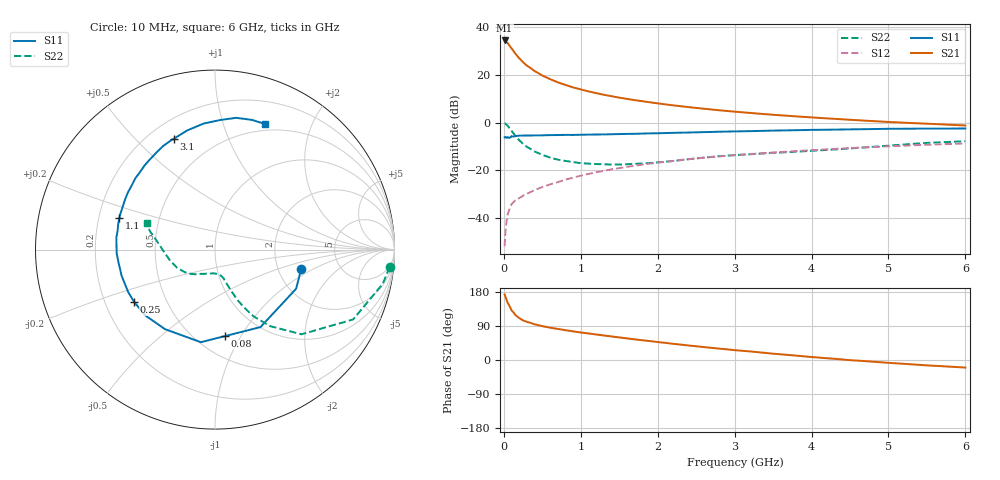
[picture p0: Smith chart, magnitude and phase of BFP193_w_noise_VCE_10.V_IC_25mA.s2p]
! (c) 2017  Infineon Technologies AG, Munich
! Infineon Technologies  Discrete & RF Semiconductors
! BFP193
! VCE =  10. V,  IC =  25 mA
! Common Emitter S-Parameters:  Jan 2017
# GHz  S  MA  R  50
!  f  S11  S21  S12  S22
! GHz  MAG  ANG  MAG  ANG  MAG  ANG  MAG  ANG
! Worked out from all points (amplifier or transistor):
!   77 points, 10 MHz to 6 GHz, reference 50 ohm
!   highest |S21| = 34.4 dB at 10 MHz (marker M1)
!   |S21| within 3 dB of that: start of sweep to 92.61 MHz
!   unconditionally stable (mu >= 1): 838.2 MHz to 2.482 GHz
!   at 130 MHz: K = 0.41, MSG = 31.5 dB, |S12| = -33.2 dB
!   at 2.2 GHz: K = 1.02, MAG = 10.8 dB, |S12| = -16.0 dB
!   at 6 GHz: K = 0.89, MSG = 3.8 dB, |S12| = -8.7 dB
!   lowest NFmin = 1.12 dB at 450 MHz
!   S11 on the Smith chart (normalised r, x): 10 MHz: 2.69, -0.77; 80 MHz: 0.68, -0.86; 250 MHz: 0.33, -0.27; 1.1 GHz: 0.29, +0.15; 3.1 GHz: 0.30, +0.65; 6 GHz: 0.43, +1.39
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0.01  0.4925 -12.8  52.4 173.1  0.0026 80.5  0.9776 -5.7
0.02  0.5018 -25.8  52.25 167.2  0.0049 87.5  0.9538 -11.6
0.05  0.5006 -59.6  46.26 150.6  0.0121 68.1  0.8625 -26.8
0.08  0.4853 -83.6  39.45 140.1  0.0165 61.9  0.7409 -36.3
0.1  0.5219 -98.7  35.87 131.0  0.0195 59.3  0.6744 -44.4
0.15  0.5236 -122.2  27.7 118.7  0.0237 54.2  0.5261 -54.2
0.2  0.5343 -136.7  22.21 110.6  0.0263 52.8  0.428 -60.1
0.25  0.5367 -146.9  18.38 104.6  0.0295 52.7  0.3602 -63.3
0.3  0.5384 -154.0  15.59 100.6  0.0324 54.3  0.3113 -65.8
0.4  0.5403 -164.4  11.99 94.1  0.0387 57.5  0.2487 -68.5
0.5  0.5421 -172.0  9.678 89.3  0.0449 58.8  0.2111 -70.4
0.6  0.5482 -177.9  8.139 85.3  0.051 60.0  0.186 -72.1
0.7  0.5494 177.5  6.995 82.0  0.0568 61.5  0.1684 -73.3
0.9  0.5526 169.1  5.465 75.6  0.0706 62.0  0.1496 -77.1
1.1  0.5617 161.8  4.508 70.1  0.0845 61.9  0.1387 -81.8
1.5  0.5759 149.5  3.333 59.6  0.1115 59.7  0.1328 -95.1
2.1  0.6048 132.4  2.412 45.2  0.1517 54.2  0.1523 -117.5
2.6  0.6329 120.7  1.953 34.1  0.1843 48.6  0.1853 -132.8
3.1  0.659 110.4  1.645 24.3  0.2138 43.2  0.2135 -145.3
4.1  0.7078 93.6  1.256 6.3  0.2706 32.3  0.2626 -168.9
5.1  0.7442 79.6  1.015 -8.8  0.324 21.2  0.3388 169.6
6  0.7534 68.3  0.872 -20.0  0.367 11.2  0.4085 158.9
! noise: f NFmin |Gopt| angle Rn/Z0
0.45  1.12  0.3  -176  0.36
0.9  1.19  0.37  -175  0.07
1.9  1.81  0.57  -138  0.16
2.4  2.15  0.62  -122  0.35
